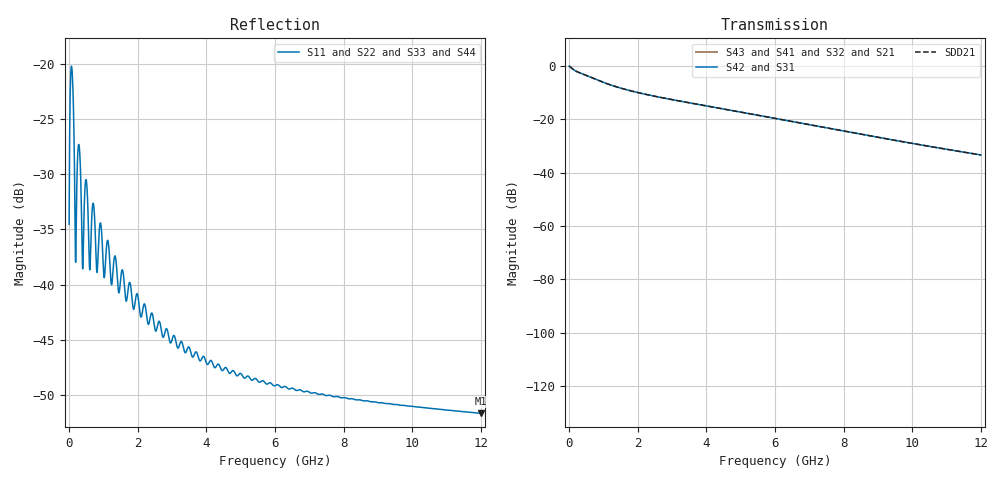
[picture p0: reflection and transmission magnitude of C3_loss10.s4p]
! SYNTHETIC PCB; not extracted/measured; no fixture or crosstalk.
! Port 1=TX+, 2=TX-, 3=RX+, 4=RX-. Differential reference 100 ohm.
# Hz S RI R 50
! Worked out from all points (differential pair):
!   2400 points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, 5 MHz to 12 GHz, reference 50 ohm
!   strongest paths, dB at 5 MHz, 3.005 GHz, 6.005 GHz, 9.005 GHz, 12 GHz:
!     S42: -0.1, -12.7, -19.7, -26.8, -33.4
!     S31: -0.1, -12.7, -19.7, -26.8, -33.4
!     S43: -, -, -, -, -
!     S41: -, -, -, -, -
!     S32: -, -, -, -, -
!     S21: -, -, -, -, -
!   taken as a pair (ports 2,1 in; 4,3 out), SDD21 dB: -0.1, -12.7, -19.7, -26.8, -33.4
!   lowest |S11| = -51.6 dB at 12 GHz (marker M1), VSWR 1.01, Z = 49.8 - j0.1 ohm
!   |S11| at or under -10 dB: start of sweep to end of sweep
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5000000  0.0162 0.00957  0 0  0.9807 -0.088  0 0
         0 0  0.0162 0.00957  0 0  0.9807 -0.088
         0.9807 -0.088  0 0  0.0162 0.00957  0 0
         0 0  0.9807 -0.088  0 0  0.0162 0.00957
1.9e8  0.00642 -0.0115  0 0  -0.8014 -0.0516  0 0
       0 0  0.00642 -0.0115  0 0  -0.8014 -0.0516
       -0.8014 -0.0516  0 0  0.00642 -0.0115  0 0
       0 0  -0.8014 -0.0516  0 0  0.00642 -0.0115
4e8  0.00708 -0.00942  0 0  0.7019 -0.00304  0 0
     0 0  0.00708 -0.00942  0 0  0.7019 -0.00304
     0.7019 -0.00304  0 0  0.00708 -0.00942  0 0
     0 0  0.7019 -0.00304  0 0  0.00708 -0.00942
6.05e8  0.00579 -0.0101  0 0  -0.6193 -0.0172  0 0
        0 0  0.00579 -0.0101  0 0  -0.6193 -0.0172
        -0.6193 -0.0172  0 0  0.00579 -0.0101  0 0
        0 0  -0.6193 -0.0172  0 0  0.00579 -0.0101
8.15e8  0.00484 -0.0103  0 0  0.545 0.00939  0 0
        0 0  0.00484 -0.0103  0 0  0.545 0.00939
        0.545 0.00939  0 0  0.00484 -0.0103  0 0
        0 0  0.545 0.00939  0 0  0.00484 -0.0103
1.025e9  0.00355 -0.0102  0 0  -0.4829 -0.0168  0 0
         0 0  0.00355 -0.0102  0 0  -0.4829 -0.0168
         -0.4829 -0.0168  0 0  0.00355 -0.0102  0 0
         0 0  -0.4829 -0.0168  0 0  0.00355 -0.0102
1.2e10  -0.00242 -0.00101  0 0  0.0127 0.0173  0 0
        0 0  -0.00242 -0.00101  0 0  0.0127 0.0173
        0.0127 0.0173  0 0  -0.00242 -0.00101  0 0
        0 0  0.0127 0.0173  0 0  -0.00242 -0.00101
